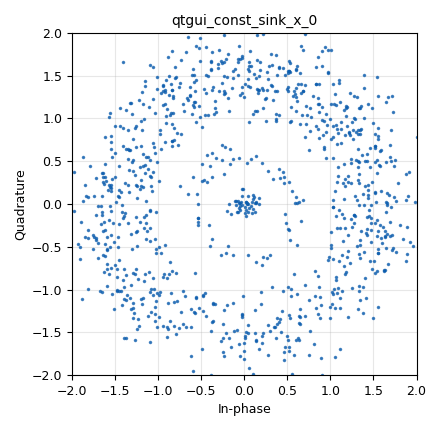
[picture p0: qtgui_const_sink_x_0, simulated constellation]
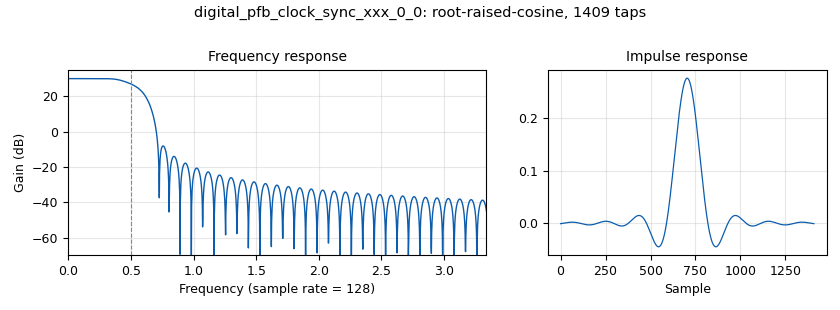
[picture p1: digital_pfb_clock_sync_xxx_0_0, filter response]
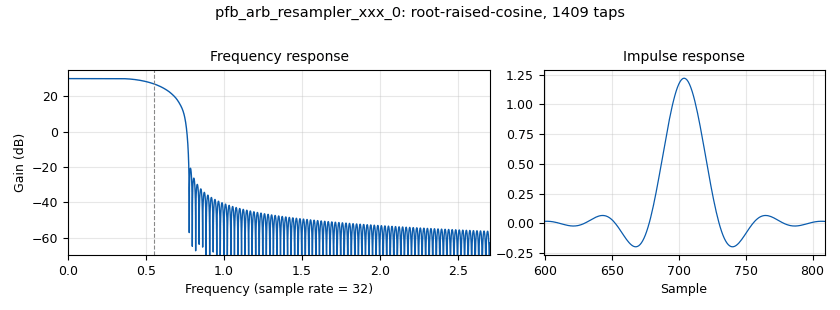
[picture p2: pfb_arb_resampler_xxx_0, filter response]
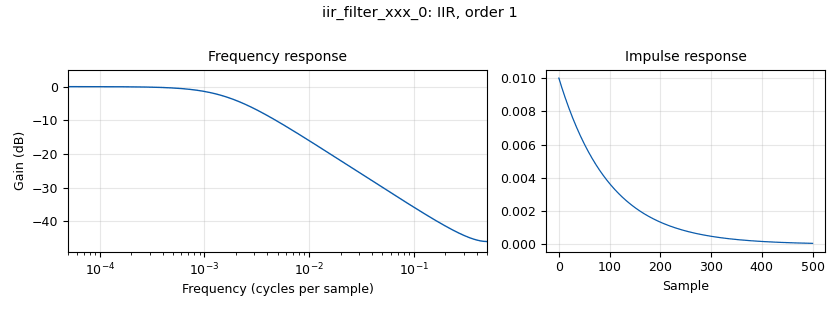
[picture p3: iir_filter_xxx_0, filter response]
options:
  parameters:
    author: Prasann
    generate_options: qt_gui
    id: task6
    output_language: python
    title: Lab 8 - Task 6
  states: {}

blocks:
- name: const_points
  id: variable
  parameters:
    value: '4'
  states: {}
- name: excess_bw
  id: variable
  parameters:
    value: '0.4'
  states: {}
- name: fll_ntaps
  id: variable
  parameters:
    value: '55'
  states: {}
- name: freq_bw
  id: variable
  parameters:
    value: 2*pi/100
  states: {}
- name: nfilts
  id: variable
  parameters:
    value: '32'
  states: {}
- name: ntaps
  id: variable
  parameters:
    value: 11*nfilts*sps
  states: {}
- name: rt
  id: variable
  parameters:
    value: 2**0.5
  states: {}
- name: rx_taps
  id: variable
  parameters:
    value: |-
      filter.firdes.root_raised_cosine(nfilts, nfilts*sps, 1.0,
      excess_bw, ntaps)
  states: {}
- name: samp_rate
  id: variable
  parameters:
    value: 1e6
  states: {}
- name: sps
  id: variable
  parameters:
    value: '4'
  states: {}
- name: timing_bw
  id: variable
  parameters:
    value: 2*pi/100
  states: {}
- name: tx_taps
  id: variable
  parameters:
    value: |-
      firdes.root_raised_cosine (nfilts, nfilts,
      1.1, 0.4, ntaps)
  states: {}
- name: analog_random_source_x_0
  id: analog_random_source_x
  parameters:
    max: '8'
    min: '0'
    num_samps: '1000'
    repeat: 'True'
    type: byte
  states: {}
- name: analog_sig_source_x_0
  id: analog_sig_source_x
  parameters:
    amp: '1'
    freq: 10e3
    offset: '0'
    phase: '0'
    samp_rate: samp_rate
    type: complex
    waveform: analog.GR_SIN_WAVE
  states: {}
- name: blocks_complex_to_arg_0
  id: blocks_complex_to_arg
  parameters: {}
  states: {}
- name: blocks_complex_to_arg_1
  id: blocks_complex_to_arg
  parameters: {}
  states: {}
- name: blocks_conjugate_cc_0
  id: blocks_conjugate_cc
  parameters: {}
  states: {}
- name: blocks_delay_0
  id: blocks_delay
  parameters:
    delay: '1'
    type: complex
  states: {}
- name: blocks_delay_0_0
  id: blocks_delay
  parameters:
    delay: '10'
    type: float
  states: {}
- name: blocks_exponentiate_const_cci_0
  id: blocks_exponentiate_const_cci
  parameters:
    exponent: '8'
  states: {}
- name: blocks_exponentiate_const_cci_1
  id: blocks_exponentiate_const_cci
  parameters:
    exponent: '8'
  states: {}
- name: blocks_multiply_const_vxx_0
  id: blocks_multiply_const_vxx
  parameters:
    const: 1.0/8
    type: float
  states: {}
- name: blocks_multiply_const_vxx_0_0
  id: blocks_multiply_const_vxx
  parameters:
    const: 1.0/8
    type: float
  states: {}
- name: blocks_multiply_xx_0
  id: blocks_multiply_xx
  parameters:
    type: complex
  states: {}
- name: blocks_multiply_xx_1
  id: blocks_multiply_xx
  parameters:
    type: complex
  states: {}
- name: blocks_multiply_xx_2
  id: blocks_multiply_xx
  parameters:
    num_inputs: '3'
    type: complex
  states: {}
- name: blocks_udp_sink_0
  id: blocks_udp_sink
  parameters:
    eof: 'True'
    ipaddr: 127.0.0.1
    port: '12345'
    psize: '1472'
    type: float
    vlen: '1'
  states: {}
- name: blocks_udp_source_0
  id: blocks_udp_source
  parameters:
    eof: 'True'
    ipaddr: 127.0.0.1
    port: '12345'
    psize: '1472'
    type: float
    vlen: '1'
  states: {}
- name: blocks_vco_c_0
  id: blocks_vco_c
  parameters:
    amplitude: '1'
    samp_rate: samp_rate/4
    sensitivity: '-samp_rate/4'
  states: {}
- name: blocks_vco_c_0_0
  id: blocks_vco_c
  parameters:
    amplitude: '1'
    samp_rate: samp_rate/sps
    sensitivity: '-5'
  states: {}
- name: digital
  id: import
  parameters:
    imports: from gnuradio import digital
  states: {}
- name: digital_chunks_to_symbols_xx_0
  id: digital_chunks_to_symbols_xx
  parameters:
    dimension: '1'
    in_type: byte
    out_type: complex
    symbol_table: '[rt, 1+1j, rt*1j, -1+1j, -rt, -1-1j, -rt*1j, 1-1j]'
  states: {}
- name: digital_pfb_clock_sync_xxx_0_0
  id: digital_pfb_clock_sync_xxx
  parameters:
    filter_size: nfilts
    init_phase: '16'
    loop_bw: timing_bw
    max_dev: '1.5'
    osps: '1'
    sps: sps
    taps: rx_taps
    type: ccf
  states: {}
- name: filt
  id: import
  parameters:
    imports: from gnuradio import filter
  states: {}
- name: iir_filter_xxx_0
  id: iir_filter_xxx
  parameters:
    fbtaps: '[-1,0.99]'
    fftaps: '[0.01]'
    type: ffd
  states: {}
- name: iir_filter_xxx_1
  id: iir_filter_xxx
  parameters:
    fbtaps: '[-1,1]'
    fftaps: '[1.0001,-1]'
    type: ffd
  states: {}
- name: pfb_arb_resampler_xxx_0
  id: pfb_arb_resampler_xxx
  parameters:
    atten: '100'
    nfilts: '32'
    rrate: sps
    taps: tx_taps
    type: ccf
  states: {}
- name: pi
  id: import
  parameters:
    imports: from math import pi
  states: {}
- name: qtgui_const_sink_x_0
  id: qtgui_const_sink_x
  parameters:
    gui_hint: tab@0
    size: '1024'
    type: complex
  states: {}
- name: qtgui_const_sink_x_0_0
  id: qtgui_const_sink_x
  parameters:
    gui_hint: tab@1
    size: '1024'
    type: complex
  states: {}
- name: tab
  id: qtgui_tab_widget
  parameters:
    label0: Start
    label1: output
    num_tabs: '2'
  states: {}

connections:
- [analog_random_source_x_0, '0', digital_chunks_to_symbols_xx_0, '0']
- [analog_sig_source_x_0, '0', blocks_multiply_xx_0, '1']
- [blocks_complex_to_arg_0, '0', blocks_multiply_const_vxx_0, '0']
- [blocks_complex_to_arg_1, '0', blocks_multiply_const_vxx_0_0, '0']
- [blocks_conjugate_cc_0, '0', blocks_multiply_xx_1, '0']
- [blocks_delay_0, '0', blocks_conjugate_cc_0, '0']
- [blocks_delay_0_0, '0', iir_filter_xxx_1, '0']
- [blocks_exponentiate_const_cci_0, '0', blocks_delay_0, '0']
- [blocks_exponentiate_const_cci_0, '0', blocks_multiply_xx_1, '1']
- [blocks_exponentiate_const_cci_1, '0', blocks_complex_to_arg_1, '0']
- [blocks_multiply_const_vxx_0, '0', blocks_vco_c_0, '0']
- [blocks_multiply_const_vxx_0_0, '0', iir_filter_xxx_0, '0']
- [blocks_multiply_xx_0, '0', digital_pfb_clock_sync_xxx_0_0, '0']
- [blocks_multiply_xx_0, '0', qtgui_const_sink_x_0, '0']
- [blocks_multiply_xx_1, '0', blocks_complex_to_arg_0, '0']
- [blocks_multiply_xx_2, '0', blocks_exponentiate_const_cci_1, '0']
- [blocks_multiply_xx_2, '0', qtgui_const_sink_x_0_0, '0']
- [blocks_udp_source_0, '0', blocks_delay_0_0, '0']
- [blocks_vco_c_0, '0', blocks_multiply_xx_2, '1']
- [blocks_vco_c_0_0, '0', blocks_multiply_xx_2, '2']
- [digital_chunks_to_symbols_xx_0, '0', pfb_arb_resampler_xxx_0, '0']
- [digital_pfb_clock_sync_xxx_0_0, '0', blocks_exponentiate_const_cci_0, '0']
- [digital_pfb_clock_sync_xxx_0_0, '0', blocks_multiply_xx_2, '0']
- [iir_filter_xxx_0, '0', blocks_udp_sink_0, '0']
- [iir_filter_xxx_1, '0', blocks_vco_c_0_0, '0']
- [pfb_arb_resampler_xxx_0, '0', blocks_multiply_xx_0, '0']

metadata:
  file_format: 1
